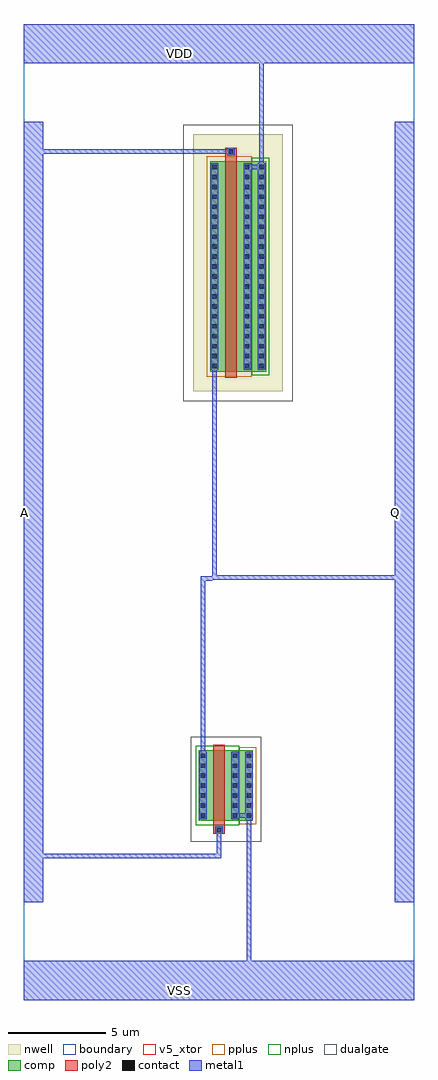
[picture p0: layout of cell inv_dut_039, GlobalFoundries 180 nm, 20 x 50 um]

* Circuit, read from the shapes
.subckt inv_dut_039 A Q VDD VSS
XM1 VSS A Q VSS nfet_05v0 w=3.6u l=0.6u
XM2 VDD A Q VDD pfet_05v0 w=10.8u l=0.6u
.ends

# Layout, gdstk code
import gdstk
lib = gdstk.Library(unit=1e-6, precision=1e-09)
def R(c, l, rs):  # rectangles x0, y0, x1, y1
    for r in rs: c.add(gdstk.rectangle(r[:2], r[2:], *l))
def A(c, l, x, y, w, h, nx, ny, dx, dy):  # array of equal rectangles
    R(c, l, [(x+i*dx, y+j*dy, x+i*dx+w, y+j*dy+h) for i in range(nx) for j in range(ny)])
boundary = (0, 0)
nwell = (21, 0)
comp = (22, 0)
poly2 = (30, 0)
pplus = (31, 0)
nplus = (32, 0)
contact = (33, 0)
metal1 = (34, 0)
dualgate = (55, 0)
v5_xtor = (112, 1)

pfet = lib.new_cell('pfet')
R(pfet, nwell, [(-1.32,-0.99,3.27,12.17)])
R(pfet, comp, [(-0.46,0,2.41,10.8)])
R(pfet, poly2, [(0.31,-0.3,0.91,11.48)])
R(pfet, pplus, [(-0.63,-0.24,1.68,11.04)])
R(pfet, nplus, [(1.68,-0.17,2.58,10.97)])
A(pfet, contact, -0.34, 0.19, 0.22, 0.22, 1, 21, 0, 0.51)
A(pfet, contact, 1.34, 0.19, 0.22, 0.22, 1, 21, 0, 0.51)
A(pfet, contact, 2.07, 0.19, 0.22, 0.22, 1, 21, 0, 0.51)
R(pfet, contact, [(0.5,11.18,0.72,11.4)])
R(pfet, metal1, [(-0.42,0.11,-0.04,10.69), (1.26,0.11,1.64,10.69), (1.99,0.11,2.37,10.69), (0.42,11.1,0.8,11.48)])
R(pfet, dualgate, [(-1.82,-1.49,3.77,12.67)])
R(pfet, v5_xtor, [(-1.82,-1.49,3.77,12.67)])

nfet = lib.new_cell('nfet')
R(nfet, comp, [(-0.42,0,2.35,3.6)])
R(nfet, poly2, [(0.31,-0.3,0.91,4.26)])
R(nfet, pplus, [(1.64,-0.17,2.52,3.77)])
R(nfet, nplus, [(-0.59,-0.24,1.64,3.84)])
A(nfet, contact, -0.32, 0.16, 0.22, 0.22, 1, 7, 0, 0.51)
A(nfet, contact, 1.32, 0.16, 0.22, 0.22, 1, 7, 0, 0.51)
A(nfet, contact, 2.03, 0.16, 0.22, 0.22, 1, 7, 0, 0.51)
R(nfet, contact, [(0.5,3.97,0.72,4.19)])
R(nfet, metal1, [(-0.4,0.08,-0.02,3.52), (1.24,0.08,1.62,3.52), (1.95,0.08,2.33,3.52), (0.42,3.89,0.8,4.27)])
R(nfet, dualgate, [(-0.84,-0.71,2.77,4.68)])
R(nfet, v5_xtor, [(-0.84,-0.71,2.77,4.68)])

inv_dut_039 = lib.new_cell('inv_dut_039')
R(inv_dut_039, boundary, [(-10,-25,10,25)])
R(inv_dut_039, metal1, [(-10,-25,10,-23), (-10,-20,-9,20), (9,-20,10,20), (-10,23,10,25)])
inv_dut_039.add(gdstk.FlexPath([(0.72,18.465),(-9.15,18.465),(-9.15,18.47)], 0.23, ends="flush", simple_path=True, layer=34, datatype=0))  # metal1
inv_dut_039.add(gdstk.FlexPath([(2.18,17.565),(2.18,23.475),(2.175,23.475)], 0.23, ends="flush", simple_path=True, layer=34, datatype=0))  # metal1
inv_dut_039.add(gdstk.FlexPath([(1.34,17.675),(2.29,17.675)], 0.23, ends="flush", simple_path=True, layer=34, datatype=0))  # metal1
inv_dut_039.add(gdstk.FlexPath([(-0.23,7.585),(-0.23,-3.355),(9.46,-3.355)], 0.23, ends="flush", simple_path=True, layer=34, datatype=0))  # metal1
inv_dut_039.add(gdstk.FlexPath([(0,-16.185),(0,-17.63),(-9.29,-17.63)], 0.23, ends="flush", simple_path=True, layer=34, datatype=0))  # metal1
inv_dut_039.add(gdstk.FlexPath([(0.71,-15.545),(1.525,-15.545),(1.525,-23.255)], 0.23, ends="flush", simple_path=True, layer=34, datatype=0))  # metal1
inv_dut_039.add(gdstk.FlexPath([(-0.82,-12.595),(-0.82,-3.395),(-0.345,-3.395)], 0.23, ends="flush", simple_path=True, layer=34, datatype=0))  # metal1
inv_dut_039.add(gdstk.Reference(pfet, (0,7.175)))
inv_dut_039.add(gdstk.Reference(nfet, (-0.61,-12.215), x_reflection=True))
inv_dut_039.add(gdstk.Label('VDD', (-2,23.5), layer=34, texttype=10))
inv_dut_039.add(gdstk.Label('VSS', (-2,-24.5), layer=34, texttype=10))
inv_dut_039.add(gdstk.Label('A', (-9.97,0), layer=34, texttype=10))
inv_dut_039.add(gdstk.Label('Q', (9.03,0), layer=34, texttype=10))

lib.write_gds('inv_dut_039.gds')
